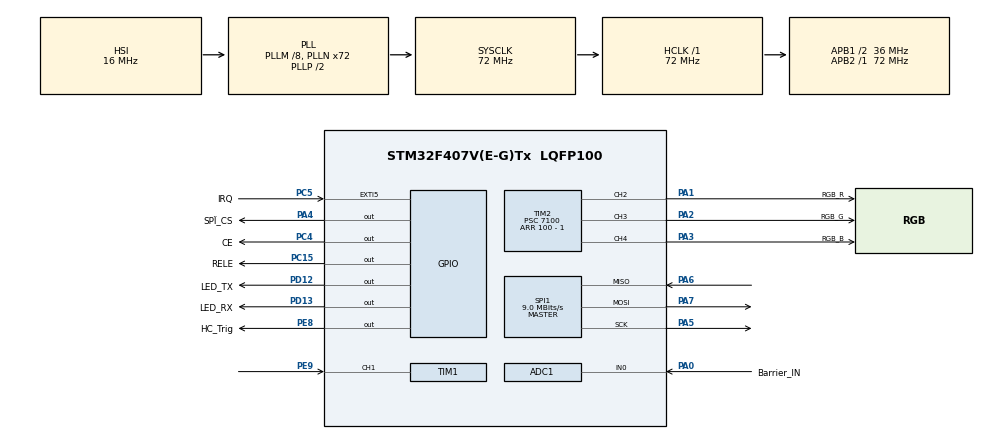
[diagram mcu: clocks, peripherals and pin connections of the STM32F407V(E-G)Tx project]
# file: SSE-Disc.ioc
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ADC1.Channel-0\#ChannelRegularConversion=ADC_CHANNEL_0
ADC1.NbrOfConversionFlag=1
ADC1.Rank-0\#ChannelRegularConversion=1
ADC1.SamplingTime-0\#ChannelRegularConversion=ADC_SAMPLETIME_3CYCLES
ADC1.master=1
Mcu.Family=STM32F4
Mcu.Name=STM32F407V(E-G)Tx
Mcu.Package=LQFP100
NVIC.ADC_IRQn=true\:0\:1\:false\:false\:true\:true\:true\:true
NVIC.EXTI9_5_IRQn=true\:0\:0\:false\:false\:true\:true\:true\:true
NVIC.PriorityGroup=NVIC_PRIORITYGROUP_0
NVIC.TIM1_CC_IRQn=true\:0\:0\:false\:false\:true\:true\:true\:true
NVIC.TIM2_IRQn=true\:0\:0\:false\:false\:true\:true\:true\:true
NVIC.TIM3_IRQn=true\:0\:0\:false\:false\:true\:true\:true\:true
PA0-WKUP.GPIO_Label=Barrier_IN
PA0-WKUP.Signal=ADCx_IN0
PA1.GPIO_Label=RGB_R
PA1.Signal=S_TIM2_CH2
PA13.Mode=Serial_Wire
PA13.Signal=SYS_JTMS-SWDIO
PA14.Mode=Serial_Wire
PA14.Signal=SYS_JTCK-SWCLK
PA2.GPIO_Label=RGB_G
PA2.Signal=S_TIM2_CH3
PA3.GPIO_Label=RGB_B
PA3.Signal=S_TIM2_CH4
PA4.GPIO_Label=SP\u00CF_CS
PA4.GPIO_Speed=GPIO_SPEED_FREQ_HIGH
PA4.Signal=GPIO_Output
PA5.Mode=Full_Duplex_Master
PA5.Signal=SPI1_SCK
PA6.Mode=Full_Duplex_Master
PA6.Signal=SPI1_MISO
PA7.Mode=Full_Duplex_Master
PA7.Signal=SPI1_MOSI
PC15-OSC32_OUT.GPIO_Label=RELE
PC15-OSC32_OUT.GPIO_PuPd=GPIO_PULLUP
PC15-OSC32_OUT.Signal=GPIO_Output
PC4.GPIO_Label=CE
PC4.GPIO_Speed=GPIO_SPEED_FREQ_HIGH
PC4.PinState=GPIO_PIN_SET
PC4.Signal=GPIO_Output
PC5.GPIO_Label=IRQ
PC5.GPIO_ModeDefaultEXTI=GPIO_MODE_IT_FALLING
PC5.Signal=GPXTI5
PD12.GPIO_Label=LED_TX
PD12.GPIO_Speed=GPIO_SPEED_FREQ_VERY_HIGH
PD12.Signal=GPIO_Output
PD13.GPIO_Label=LED_RX
PD13.GPIO_Speed=GPIO_SPEED_FREQ_VERY_HIGH
PD13.Signal=GPIO_Output
PE8.GPIO_Label=HC_Trig
PE8.Signal=GPIO_Output
PE9.GPIO_ModeDefaultPP=GPIO_MODE_AF_PP
PE9.GPIO_PuPd=GPIO_NOPULL
PE9.GPIO_Speed=GPIO_SPEED_FREQ_LOW
PE9.Signal=S_TIM1_CH1
ProjectManager.HeapSize=0x200
ProjectManager.StackSize=0x400
ProjectManager.TargetToolchain=STM32CubeIDE
RCC.48MHZClocksFreq_Value=20571428.57142857
RCC.AHBFreq_Value=72000000
RCC.APB1CLKDivider=RCC_HCLK_DIV2
RCC.APB1Freq_Value=36000000
RCC.APB1TimFreq_Value=72000000
RCC.APB2Freq_Value=72000000
RCC.APB2TimFreq_Value=72000000
RCC.CortexFreq_Value=72000000
RCC.HCLKFreq_Value=72000000
RCC.HSE_VALUE=8000000
RCC.HSI_VALUE=16000000
RCC.LSE_VALUE=32768
RCC.PLLM=8
RCC.PLLN=72
RCC.PLLQ=7
RCC.SYSCLKFreq_VALUE=72000000
RCC.SYSCLKSource=RCC_SYSCLKSOURCE_PLLCLK
RCC.VCOOutputFreq_Value=144000000
SH.ADCx_IN0.0=ADC1_IN0,IN0
SH.S_TIM1_CH1.0=TIM1_CH1,Input_Capture1_from_TI1
SH.S_TIM2_CH2.0=TIM2_CH2,PWM Generation2 CH2
SH.S_TIM2_CH3.0=TIM2_CH3,PWM Generation3 CH3
SH.S_TIM2_CH4.0=TIM2_CH4,PWM Generation4 CH4
SPI1.BaudRatePrescaler=SPI_BAUDRATEPRESCALER_8
SPI1.CalculateBaudRate=9.0 MBits/s
SPI1.Direction=SPI_DIRECTION_2LINES
SPI1.Mode=SPI_MODE_MASTER
SPI1.VirtualType=VM_MASTER
TIM1.Channel-Input_Capture1_from_TI1=TIM_CHANNEL_1
TIM1.Prescaler=72-1
TIM2.Channel-PWM\ Generation2\ CH2=TIM_CHANNEL_2
TIM2.Channel-PWM\ Generation3\ CH3=TIM_CHANNEL_3
TIM2.Channel-PWM\ Generation4\ CH4=TIM_CHANNEL_4
TIM2.Period=100 - 1
TIM2.Prescaler=7100
TIM2.Pulse-PWM\ Generation2\ CH2=0
TIM2.Pulse-PWM\ Generation3\ CH3=0
TIM2.Pulse-PWM\ Generation4\ CH4=0
TIM3.Period=65535
TIM3.Prescaler=72
VP_TIM2_VS_ClockSourceINT.Mode=Internal
VP_TIM3_VS_ClockSourceINT.Mode=Internal
board=STM32F407G-DISC1

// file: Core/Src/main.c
/* USER CODE BEGIN Header */
/**
  ******************************************************************************
  * @file           : main.c
  * @brief          : Main program body
  ******************************************************************************
  * @attention
  *
  * Copyright (c) 2024 STMicroelectronics.
  * All rights reserved.
  *
  * This software is licensed under terms that can be found in the LICENSE file
  * in the root directory of this software component.
  * If no LICENSE file comes with this software, it is provided AS-IS.
  *
  ******************************************************************************
  */
/* USER CODE END Header */
#include "main.h"
#include "adc.h"
#include "spi.h"
#include "tim.h"
#include "gpio.h"

/* USER CODE BEGIN Includes */
#include "defines.h"
/* USER CODE END Includes */

/* USER CODE BEGIN PV */

uint8_t sNum[5];
uint8_t motion[5];
int16_t button = 0;
double voltage;
uint32_t adc_value;
volatile uint8_t valid = 0;
volatile unsigned long handledInterrupts = 0;
volatile unsigned long toHandleInterrupts = 0;

float duty_cycle = 0.0;
/* USER CODE END PV */

void SystemClock_Config(void);
/* USER CODE BEGIN PFP */

void received_message();
/* USER CODE END PFP */

/* USER CODE BEGIN 0 */

uint8_t rx_data[NRF24L01P_PAYLOAD_LENGTH] = {0,};
uint8_t tx_data[NRF24L01P_PAYLOAD_LENGTH] = {0, 0, 0, 0, 0, 0, 0, 0};
/* USER CODE END 0 */

int main(void)
{

  /* MCU Configuration--------------------------------------------------------*/

  /* Reset of all peripherals, Initializes the Flash interface and the Systick. */
  HAL_Init();

  /* Configure the system clock */
  SystemClock_Config();

  /* Initialize all configured peripherals */
  MX_GPIO_Init();
  MX_SPI1_Init();
  MX_ADC1_Init();
  MX_TIM1_Init();
  MX_TIM2_Init();
  MX_TIM3_Init();
  /* USER CODE BEGIN 2 */

  HAL_TIM_IC_Start_IT(&htim1, TIM_CHANNEL_1);
  HAL_TIM_PWM_Start_IT(&htim2, TIM_CHANNEL_2);
  HAL_TIM_PWM_Start_IT(&htim2, TIM_CHANNEL_3);
  HAL_TIM_PWM_Start_IT(&htim2, TIM_CHANNEL_4);

  BSP_RF_Params_TypeDef rf_params = {0};
  rf_params.channel = NRF24L01P_CHANNEL;
  rf_params.rate = NRF24L01P_RATE;
  rf_params.retransmit_count = NRF24L01P_RETRANSMIT_COUNT;
  BSP_RF_Init(&rf_params);
  BSP_RF_Listening();

  /* USER CODE END 2 */

  /* Infinite loop */
  /* USER CODE BEGIN WHILE */
  while (1)
  {
	  app();

    /* USER CODE END WHILE */

  }
}

void SystemClock_Config(void)
{
  RCC_OscInitTypeDef RCC_OscInitStruct = {0};
  RCC_ClkInitTypeDef RCC_ClkInitStruct = {0};

  /** Configure the main internal regulator output voltage
  */
  __HAL_RCC_PWR_CLK_ENABLE();
  __HAL_PWR_VOLTAGESCALING_CONFIG(PWR_REGULATOR_VOLTAGE_SCALE1);

  /** Initializes the RCC Oscillators according to the specified parameters
  * in the RCC_OscInitTypeDef structure.
  */
  RCC_OscInitStruct.OscillatorType = RCC_OSCILLATORTYPE_HSI;
  RCC_OscInitStruct.HSIState = RCC_HSI_ON;
  RCC_OscInitStruct.HSICalibrationValue = RCC_HSICALIBRATION_DEFAULT;
  RCC_OscInitStruct.PLL.PLLState = RCC_PLL_ON;
  RCC_OscInitStruct.PLL.PLLSource = RCC_PLLSOURCE_HSI;
  RCC_OscInitStruct.PLL.PLLM = 8;
  RCC_OscInitStruct.PLL.PLLN = 72;
  RCC_OscInitStruct.PLL.PLLP = RCC_PLLP_DIV2;
  RCC_OscInitStruct.PLL.PLLQ = 7;
  if (HAL_RCC_OscConfig(&RCC_OscInitStruct) != HAL_OK)
  {
    Error_Handler();
  }

  /** Initializes the CPU, AHB and APB buses clocks
  */
  RCC_ClkInitStruct.ClockType = RCC_CLOCKTYPE_HCLK|RCC_CLOCKTYPE_SYSCLK
                              |RCC_CLOCKTYPE_PCLK1|RCC_CLOCKTYPE_PCLK2;
  RCC_ClkInitStruct.SYSCLKSource = RCC_SYSCLKSOURCE_PLLCLK;
  RCC_ClkInitStruct.AHBCLKDivider = RCC_SYSCLK_DIV1;
  RCC_ClkInitStruct.APB1CLKDivider = RCC_HCLK_DIV2;
  RCC_ClkInitStruct.APB2CLKDivider = RCC_HCLK_DIV1;

  if (HAL_RCC_ClockConfig(&RCC_ClkInitStruct, FLASH_LATENCY_2) != HAL_OK)
  {
    Error_Handler();
  }
}

/* USER CODE BEGIN 4 */

void received_message()
{
	HAL_GPIO_TogglePin(GPIOD, LED_RX_Pin);
	toHandleInterrupts += BSP_RF_IrqHandler();
	BSP_RF_ReadData(rx_data);
	HAL_GPIO_TogglePin(GPIOD, LED_RX_Pin);
}

void HAL_GPIO_EXTI_Callback(uint16_t GPIO_Pin)
{
	if(GPIO_Pin == NRF24L01P_IRQ_PIN_NUMBER)
	{
		received_message();
	}

}

#define min(x,y) (((x) <= (y)) ? (x) : (y))
#define max(x,y) (((x) >= (y)) ? (x) : (y))
void HAL_TIM_PWM_PulseFinishedCallback(TIM_HandleTypeDef *htim){
	uint8_t distance = HAL_HCSR04_GetDistance();
	duty_cycle =  ((float) max(min(distance, 100), 20) / 100);
	uint32_t pulse_width = 100 * duty_cycle;
	if(htim == &htim2){
		TIM2->CCR2 = pulse_width;
		TIM2->CCR3 = pulse_width;
		TIM2->CCR4 = pulse_width;
	}

}

/* USER CODE END 4 */

void Error_Handler(void)
{
  __disable_irq();
  while (1)
  {
  }
}
